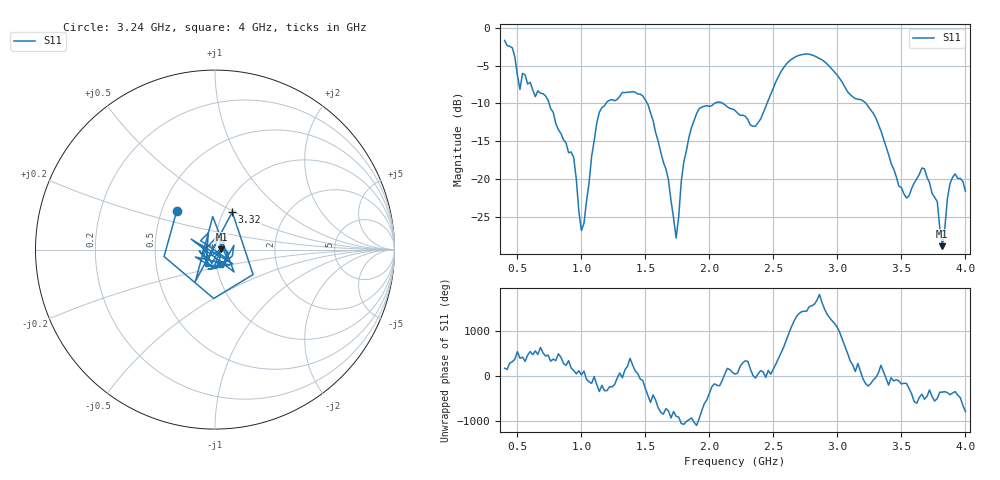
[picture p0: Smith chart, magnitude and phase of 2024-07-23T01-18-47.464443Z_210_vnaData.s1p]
!Created with skrf (http://scikit-rf.org).
# Hz S RI R 50.0
!freq ReS11 ImS11
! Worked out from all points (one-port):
!   181 points, 400 MHz to 4 GHz, reference 50 ohm
!   lowest |S11| = -28.9 dB at 3.82 GHz (marker M1), VSWR 1.07, Z = 53.7 + j0.0676 ohm
!   |S11| at or under -10 dB: 747.5 MHz to 1.192 GHz (444.4 MHz wide, 45.8 % of centre); 1.515 GHz to 2.039 GHz (523.8 MHz wide, 29.5 % of centre); 3.224 GHz to end of sweep (the widest 3 of 4)
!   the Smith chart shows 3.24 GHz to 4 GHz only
!   S11 on the Smith chart (normalised r, x): 3.24 GHz: 0.60, +0.28; 3.32 GHz: 1.10, +0.49; 4 GHz: 1.04, -0.17
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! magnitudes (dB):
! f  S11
! 400 MHz  -1.7
! 460 MHz  -2.6
! 520 MHz  -8.1
! 540 MHz  -6.0
! 720 MHz  -9.0
! 860 MHz  -14.8
! 940 MHz  -17.2
! 1 GHz  -26.8
! 1.14 GHz  -11.2
! 1.3 GHz  -9.1
! 1.52 GHz  -10.1
! 1.68 GHz  -20.1
! 1.74 GHz  -27.8
! 1.76 GHz  -25.0
! 1.8 GHz  -17.8
! 1.92 GHz  -10.7
! 2.2 GHz  -10.9
! 2.36 GHz  -13.0
! 2.66 GHz  -3.9
! 3.1 GHz  -8.8
! 3.24 GHz  -10.4
! 3.32 GHz  -12.8
! 3.56 GHz  -22.2
! 3.68 GHz  -18.7
! 3.78 GHz  -23.0
! 3.82 GHz  -28.9
! 3.9 GHz  -19.8
! 4 GHz  -21.6
